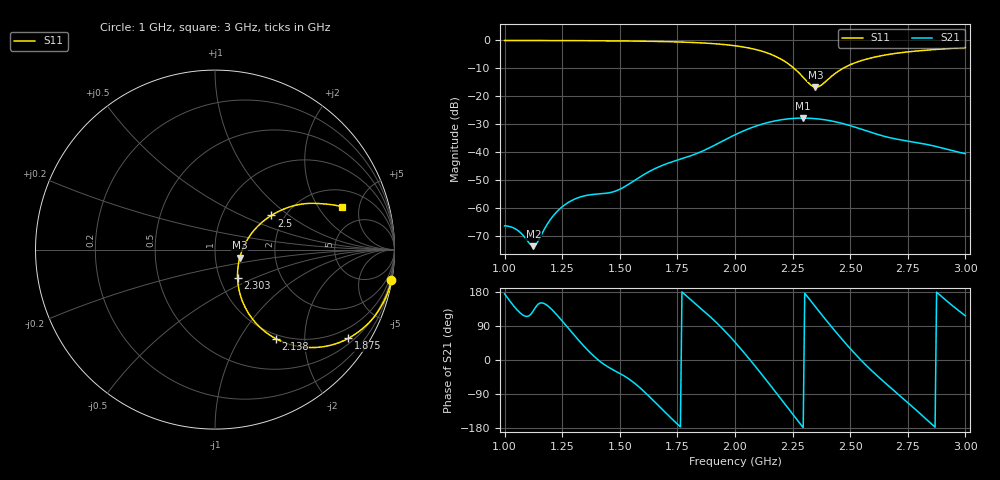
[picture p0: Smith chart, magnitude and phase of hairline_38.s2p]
! TOUCHSTONE file generated by CST MICROWAVE STUDIO
! Date and time: Tue Mar 18 20:31:52 2025
! Project name: hairline.cst
! Parameters = {B=12.5; D=160; F=15; Feed=2.85625; Fracture=1; L=100; M=30; R=0.384908; S=1.5; Theta=270; length=57.125; wave=114.25}
! Header version: 2024
! Port assignment regex: !\s*Touchstone port\s*([0-9]+)\s*=\s*(CST MWS port|CST DES external port|CST DES block port)\s*(.+)\s* \(\"(.*)\"\)(\s*mode\s*([0-9]+))?.*
! Touchstone port assignment:
! Touchstone port 1 = CST MWS port 1 ("")
! Touchstone port 2 = CST MWS port 2 ("")
# GHz S DB R 50
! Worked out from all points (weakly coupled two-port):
!   305 points, 1 GHz to 3 GHz, reference 50 ohm
!   highest |S21| = -27.82 dB at 2.296 GHz (marker M1); lowest = -73.7 dB at 1.125 GHz (marker M2)
!   lowest |S11| = -16.8 dB at 2.349 GHz (marker M3), VSWR 1.34, Z = 65.7 - j6.11 ohm
!   |S11| at or under -10 dB: 2.256 GHz to 2.469 GHz (212.5 MHz wide, 9 % of centre)
!   S12 and S22 are empty: the file has one direction only
!   S11 on the Smith chart (normalised r, x): 1 GHz: 0, -12; 1.875 GHz: 0.65, -3.18; 2.138 GHz: 0.93, -1.45; 2.303 GHz: 1.21, -0.41; 2.5 GHz: 1.71, +0.75; 3 GHz: 3.09, +3.33
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1  -0.02 -9.7  -66.38 174.8  -200.00 0.0  -200.00 0.0
1.05263  -0.03 -10.4  -67.79 133.3  -200.00 0.0  -200.00 0.0
1.125  -0.04 -11.5  -73.68 130.2  -200.00 0.0  -200.00 0.0
1.13816  -0.04 -11.7  -72.85 142.5  -200.00 0.0  -200.00 0.0
1.19079  -0.05 -12.5  -65.07 141.2  -200.00 0.0  -200.00 0.0
1.23026  -0.06 -13.2  -61.05 116.7  -200.00 0.0  -200.00 0.0
1.28289  -0.08 -14.1  -57.71 79.2  -200.00 0.0  -200.00 0.0
1.33553  -0.09 -15.1  -55.89 42.4  -200.00 0.0  -200.00 0.0
1.48684  -0.18 -18.5  -53.78 -31.1  -200.00 0.0  -200.00 0.0
1.67105  -0.38 -24.1  -45.22 -122.3  -200.00 0.0  -200.00 0.0
1.875  -0.99 -33.7  -39.02 123.8  -200.00 0.0  -200.00 0.0
2  -1.92 -42.6  -33.79 47.1  -200.00 0.0  -200.00 0.0
2.13816  -4.43 -55.7  -29.50 -54.9  -200.00 0.0  -200.00 0.0
2.22368  -7.93 -62.2  -28.16 -121.8  -200.00 0.0  -200.00 0.0
2.29605  -13.23 -54.4  -27.82 -178.6  -200.00 0.0  -200.00 0.0
2.30263  -13.81 -51.9  -27.82 176.3  -200.00 0.0  -200.00 0.0
2.33553  -16.36 -30.5  -27.93 150.8  -200.00 0.0  -200.00 0.0
2.34868  -16.76 -18.3  -28.01 140.6  -200.00 0.0  -200.00 0.0
2.36842  -16.34 -0.3  -28.18 125.5  -200.00 0.0  -200.00 0.0
2.5  -8.72 31.2  -30.52 30.2  -200.00 0.0  -200.00 0.0
2.67105  -4.97 27.0  -34.81 -70.6  -200.00 0.0  -200.00 0.0
3  -2.55 18.7  -40.55 116.7  -200.00 0.0  -200.00 0.0
